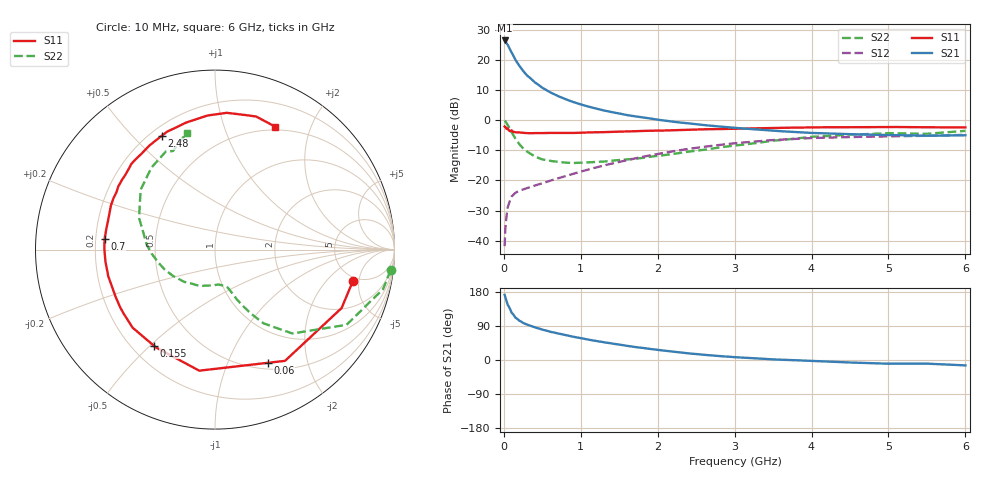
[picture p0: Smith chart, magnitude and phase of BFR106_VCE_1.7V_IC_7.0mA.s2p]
! Infineon Technologies  Discrete & RF Semiconductors
! BFR106
! VCE =  1.7 V,  IC =  7.0 mA
! Common Emitter S-Parameters:  Nov 2015
# GHz  S  MA  R  50
!  f  S11  S21  S12  S22
! GHz  MAG  ANG  MAG  ANG  MAG  ANG  MAG  ANG
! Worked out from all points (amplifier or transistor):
!   210 points, 10 MHz to 6 GHz, reference 50 ohm
!   highest |S21| = 26.5 dB at 10 MHz (marker M1)
!   |S21| within 3 dB of that: start of sweep to 80.33 MHz
!   unconditionally stable (mu >= 1): 544.7 MHz to 2.347 GHz; 4.227 GHz to end of sweep
!   at 185 MHz: K = 0.47, MSG = 21.2 dB, |S12| = -23.6 dB
!   at 1.52 GHz: K = 1.12, MAG = 5.8 dB, |S12| = -13.7 dB
!   at 6 GHz: K = 1.02, MAG = -1.0 dB, |S12| = -4.8 dB
!   S11 on the Smith chart (normalised r, x): 10 MHz: 4.51, -4.16; 60 MHz: 0.57, -1.41; 155 MHz: 0.29, -0.51; 700 MHz: 0.24, +0.05; 2.48 GHz: 0.24, +0.61; 6 GHz: 0.46, +1.50
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0.01  0.7882 -12.8  21.22 171.8  0.0081 85.5  0.9848 -6.7
0.02  0.7769 -24.8  20.65 165.2  0.016 80.1  0.9622 -13.2
0.05  0.7324 -57.8  18 145.8  0.0358 62.7  0.8441 -29.8
0.06  0.6962 -65.0  16.95 142.6  0.0392 58.8  0.7975 -32.5
0.1  0.6802 -97.4  13.5 125.2  0.054 48.3  0.636 -47.3
0.15  0.6368 -121.1  10.14 112.0  0.0623 41.3  0.4928 -56.6
0.155  0.6343 -122.6  9.925 111.3  0.0628 41.1  0.4837 -57.0
0.2  0.6324 -136.5  8.1 104.0  0.0676 39.2  0.4027 -61.0
0.26  0.6185 -148.6  6.409 96.9  0.0717 39.1  0.3318 -64.7
0.3  0.6131 -154.5  5.597 93.3  0.0746 39.7  0.303 -66.3
0.4  0.613 -166.0  4.306 86.1  0.0822 42.1  0.2515 -69.0
0.5  0.6138 -173.5  3.475 80.2  0.0897 45.0  0.2238 -71.4
0.6  0.6167 179.9  2.93 74.7  0.0991 47.5  0.2118 -74.1
0.7  0.6182 174.5  2.542 69.9  0.1081 50.0  0.2046 -77.9
1.02  0.623 160.4  1.805 56.9  0.1429 54.6  0.198 -90.5
1.4  0.6434 146.9  1.367 43.8  0.1903 55.9  0.2135 -108.6
2.02  0.6726 127.8  1.016 26.3  0.2787 51.5  0.2583 -140.0
2.48  0.6998 115.2  0.867 16.1  0.3461 45.3  0.3098 -162.1
3.1  0.7287 100.8  0.733 6.4  0.4256 34.9  0.3926 171.7
4.1  0.7646 83.8  0.611 -3.2  0.5107 17.5  0.5386 138.3
5.1  0.7734 71.7  0.566 -9.8  0.5428 3.6  0.6082 115.9
6  0.7627 63.9  0.564 -14.2  0.5748 -6.3  0.6683 103.7
